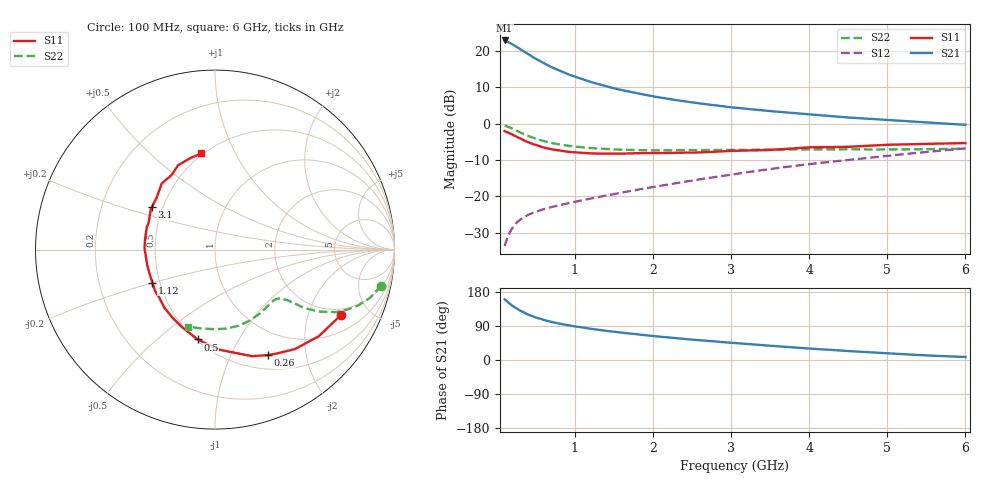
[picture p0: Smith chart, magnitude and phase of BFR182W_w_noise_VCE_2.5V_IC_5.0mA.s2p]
! Infineon Technologies  Discrete & RF Semiconductors
! BFR182W
! VCE =  2.5 V,  IC =  5.0 mA
! Common Emitter S-Parameters:  Nov 2015
# GHz  S  MA  R  50
!  f  S11  S21  S12  S22
! GHz  MAG  ANG  MAG  ANG  MAG  ANG  MAG  ANG
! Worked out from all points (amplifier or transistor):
!   192 points, 100 MHz to 6 GHz, reference 50 ohm
!   highest |S21| = 23.0 dB at 100 MHz (marker M1)
!   |S21| within 3 dB of that: start of sweep to 342.6 MHz
!   unconditionally stable (mu >= 1): 1.332 GHz to 2.905 GHz
!   at 440 MHz: K = 0.51, MSG = 21.7 dB, |S12| = -24.8 dB
!   at 1.7 GHz: K = 1.05, MAG = 12.3 dB, |S12| = -18.6 dB
!   at 6 GHz: K = 0.77, MSG = 3.3 dB, |S12| = -6.8 dB
!   lowest NFmin = 1.20 dB at 450 MHz
!   S11 on the Smith chart (normalised r, x): 100 MHz: 1.71, -3.31; 260 MHz: 0.67, -1.39; 500 MHz: 0.51, -0.69; 1.12 GHz: 0.46, -0.20; 3.1 GHz: 0.44, +0.25; 6 GHz: 0.49, +0.74
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0.1  0.7918 -27.2  14.07 160.1  0.0205 76.1  0.9484 -12.2
0.15  0.7535 -39.8  13.3 151.0  0.0293 70.7  0.9051 -17.2
0.195  0.7143 -49.9  12.53 143.9  0.0359 66.5  0.8604 -20.9
0.24  0.6731 -59.4  11.72 137.6  0.0416 62.6  0.8146 -24.0
0.26  0.6572 -63.4  11.37 135.0  0.0438 61.3  0.7954 -25.2
0.3  0.6289 -70.8  10.66 130.1  0.0476 59.0  0.7594 -27.3
0.4  0.5577 -87.7  9.111 119.8  0.0553 55.2  0.6795 -30.6
0.5  0.5097 -100.9  7.848 112.1  0.0611 53.2  0.62 -32.4
0.6  0.47 -112.9  6.847 105.8  0.0664 52.6  0.5752 -33.5
0.7  0.446 -122.6  6.032 100.4  0.0709 52.6  0.543 -33.9
0.8  0.4291 -131.3  5.406 96.0  0.0752 53.1  0.5177 -34.5
0.9  0.4108 -138.6  4.865 92.1  0.0796 54.0  0.4985 -34.7
1.1  0.3962 -151.1  4.104 85.8  0.0884 55.7  0.4727 -35.8
1.12  0.3948 -152.2  4.035 85.1  0.0893 55.9  0.4704 -35.9
1.2  0.3909 -156.9  3.768 82.4  0.093 56.6  0.4615 -36.3
1.5  0.387 -170.2  3.083 74.4  0.1072 59.2  0.4425 -38.4
2.08  0.3943 169.7  2.307 61.8  0.1385 63.1  0.4299 -43.9
2.5  0.3987 158.2  1.962 53.7  0.1644 64.6  0.431 -48.7
3.1  0.4244 145.8  1.645 43.9  0.2061 65.1  0.4359 -57.6
4.1  0.4739 127.1  1.32 29.0  0.2851 62.2  0.4434 -74.7
5.1  0.5152 111.8  1.111 16.6  0.3701 57.0  0.4427 -93.4
6  0.5411 98.1  0.967 7.9  0.4575 51.0  0.4535 -109.0
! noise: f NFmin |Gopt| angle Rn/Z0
0.45  1.2  0.27  37  0.3
0.9  1.3  0.25  75  0.23
1.8  1.9  0.21  145  0.2
